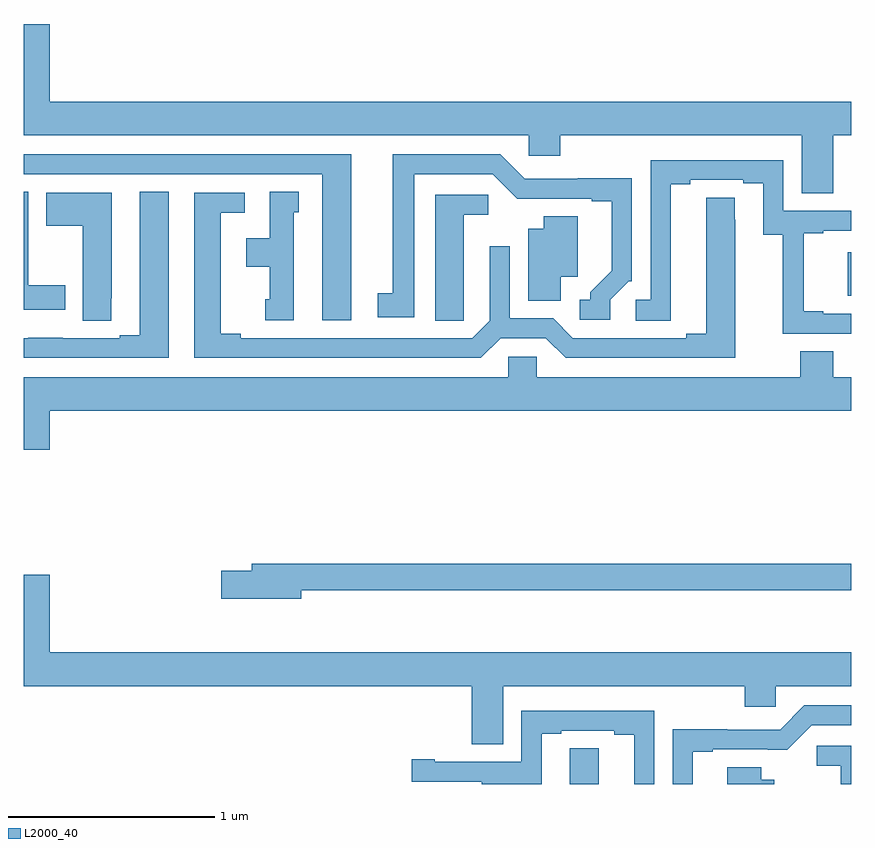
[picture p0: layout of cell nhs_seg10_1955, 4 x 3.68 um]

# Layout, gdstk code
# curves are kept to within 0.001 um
import gdstk
lib = gdstk.Library(unit=1e-6, precision=1e-09)
def R(c, l, rs):  # rectangles x0, y0, x1, y1
    for r in rs: c.add(gdstk.rectangle(r[:2], r[2:], *l))
def P(c, l, *ps):  # polygons
    for p in ps: c.add(gdstk.Polygon(p, *l))
L2000_40 = (2000, 40)

nhs_seg10_1955 = lib.new_cell('nhs_seg10_1955')
R(nhs_seg10_1955, L2000_40, [(216.983,1312.862,217,1313.071)])
P(nhs_seg10_1955, L2000_40, [(216.914,1313.636),(217,1313.636),(217,1313.8),(213.124,1313.8),(213.124,1314.175),(213,1314.175),(213,1313.636),(215.442,1313.636),(215.442,1313.538),(215.594,1313.538),(215.594,1313.636),(216.761,1313.636),(216.761,1313.356),(216.914,1313.356)],
  [(214.582,1313.544),(213,1313.544),(213,1313.448),(214.442,1313.448),(214.442,1312.743),(214.582,1312.743)],
  [(215.835,1312.842),(215.925,1312.932),(215.94,1312.932),(215.94,1313.429),(215.677,1313.429),(215.677,1313.427),(215.421,1313.427),(215.304,1313.544),(214.784,1313.544),(214.784,1312.874),(214.71,1312.874),(214.71,1312.758),(214.888,1312.758),(214.888,1313.448),(215.268,1313.448),(215.386,1313.33),(215.747,1313.331),(215.747,1313.319),(215.843,1313.319),(215.843,1312.982),(215.738,1312.877),(215.738,1312.842),(215.688,1312.842),(215.688,1312.746),(215.835,1312.746)],
  [(217,1312.773),(216.865,1312.773),(216.865,1312.786),(216.77,1312.786),(216.77,1313.163),(216.865,1313.163),(216.865,1313.175),(217,1313.175),(217,1313.271),(216.672,1313.271),(216.672,1313.517),(216.03,1313.517),(216.03,1312.842),(215.958,1312.842),(215.958,1312.741),(216.127,1312.741),(216.127,1313.401),(216.223,1313.401),(216.223,1313.421),(216.479,1313.421),(216.479,1313.406),(216.575,1313.406),(216.575,1313.155),(216.67,1313.155),(216.67,1312.677),(217,1312.677)],
  [(214.306,1313.265),(214.33,1313.265),(214.33,1313.363),(214.19,1313.363),(214.19,1313.14),(214.076,1313.14),(214.076,1313),(214.19,1313),(214.19,1312.845),(214.166,1312.845),(214.166,1312.743),(214.306,1312.743)],
  [(213.199,1312.911),(213.022,1312.911),(213.022,1313.363),(213,1313.363),(213,1312.794),(213.199,1312.794)],
  [(213.7,1313.363),(213.56,1313.363),(213.56,1312.671),(213.464,1312.671),(213.464,1312.656),(213.188,1312.656),(213.188,1312.657),(213.022,1312.657),(213.022,1312.656),(213,1312.656),(213,1312.56),(213.7,1312.56)],
  [(213.423,1312.849),(213.424,1312.849),(213.424,1313.359),(213.107,1313.359),(213.107,1313.2),(213.284,1313.2),(213.284,1312.741),(213.423,1312.741)],
  [(215.305,1312.656),(215.523,1312.656),(215.619,1312.56),(216.439,1312.56),(216.438,1313.336),(216.299,1313.336),(216.299,1312.676),(216.203,1312.676),(216.203,1312.656),(215.655,1312.656),(215.559,1312.752),(215.349,1312.752),(215.349,1313.101),(215.253,1313.101),(215.253,1312.74),(215.169,1312.656),(214.048,1312.656),(214.048,1312.676),(213.952,1312.676),(213.952,1313.262),(214.069,1313.262),(214.069,1313.358),(213.824,1313.358),(213.824,1312.56),(215.209,1312.56)],
  [(215.127,1312.849),(215.128,1312.849),(215.128,1313.252),(215.245,1313.252),(215.245,1313.349),(214.988,1313.349),(214.988,1312.741),(215.127,1312.741)],
  [(215.596,1312.952),(215.677,1312.952),(215.677,1313.246),(215.513,1313.246),(215.513,1313.185),(215.438,1313.185),(215.438,1312.837),(215.596,1312.837)],
  [(213.124,1312.304),(217,1312.304),(217,1312.468),(216.914,1312.468),(216.914,1312.592),(216.754,1312.592),(216.754,1312.468),(215.481,1312.468),(215.481,1312.566),(215.343,1312.566),(215.343,1312.468),(213,1312.468),(213,1312.116),(213.124,1312.116)],
  [(214.342,1311.438),(217,1311.438),(217,1311.566),(214.103,1311.566),(214.103,1311.53),(213.954,1311.53),(213.954,1311.395),(214.342,1311.395)],
  [(215.317,1310.972),(216.485,1310.972),(216.485,1310.874),(216.636,1310.874),(216.636,1310.972),(217,1310.972),(217,1311.136),(213.124,1311.136),(213.124,1311.511),(213,1311.511),(213,1310.972),(215.165,1310.972),(215.165,1310.692),(215.317,1310.692)],
  [(216.235,1310.655),(216.331,1310.655),(216.331,1310.667),(216.692,1310.666),(216.81,1310.784),(217,1310.784),(217,1310.88),(216.774,1310.88),(216.657,1310.763),(216.401,1310.763),(216.401,1310.765),(216.138,1310.765),(216.138,1310.5),(216.235,1310.5)],
  [(215.503,1310.742),(215.599,1310.742),(215.599,1310.757),(215.855,1310.757),(215.855,1310.737),(215.951,1310.737),(215.951,1310.5),(216.048,1310.5),(216.048,1310.853),(215.406,1310.853),(215.406,1310.607),(214.987,1310.607),(214.987,1310.62),(214.875,1310.62),(214.875,1310.511),(215.213,1310.511),(215.213,1310.5),(215.503,1310.5)],
  [(217,1310.685),(216.834,1310.685),(216.834,1310.588),(216.95,1310.588),(216.95,1310.5),(217,1310.5)],
  [(215.779,1310.672),(215.64,1310.672),(215.64,1310.564),(215.639,1310.564),(215.639,1310.5),(215.779,1310.5)],
  [(216.628,1310.521),(216.565,1310.521),(216.565,1310.582),(216.401,1310.582),(216.401,1310.5),(216.628,1310.5)])

lib.write_gds('nhs_seg10_1955.gds')
